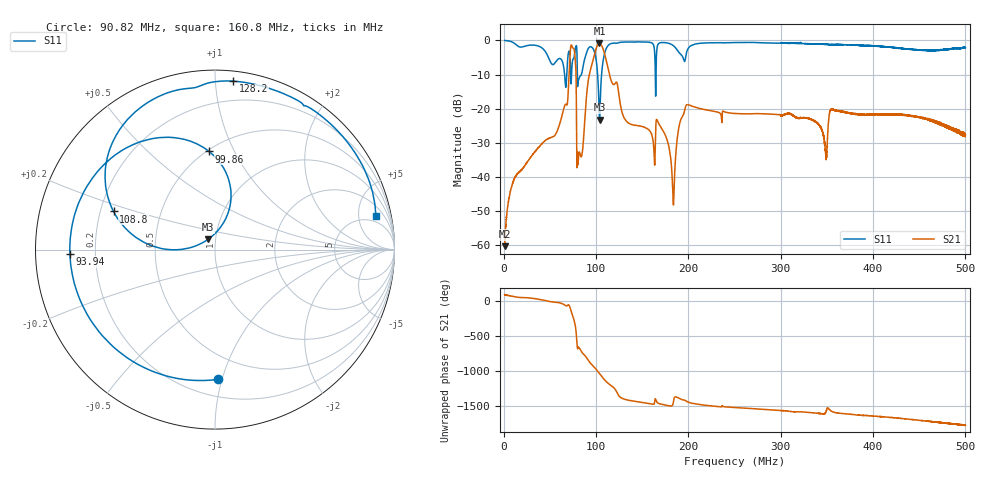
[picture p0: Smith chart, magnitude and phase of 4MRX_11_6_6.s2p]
! NanoVNA-App
! Date: 2026-08-19 14:54:53
! Start: 1MHz Stop: 500MHz Points: 6401
! S-Parameter data: F S11 S21 S12 S22
# Hz S RI R 50
!  Frequency  S11_Real  S11_Imag  S21_Real  S21_Imag  S12_Real  S12_Imag  S22_Real  S22_Imag
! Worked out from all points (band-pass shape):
!   6401 points, 1 MHz to 500 MHz, reference 50 ohm
!   highest |S21| = -0.89 dB at 103.7 MHz (marker M1); lowest = -60.2 dB at 1.078 MHz (marker M2)
!   |S21| within 3 dB of the highest: 71.95 MHz to 76.96 MHz (5.012 MHz wide, 6.73 % of centre); 98.5 MHz to 109.3 MHz (10.75 MHz wide, 10.4 % of centre)
!   lowest |S11| = -23.2 dB at 103.8 MHz (marker M3), VSWR 1.15, Z = 46.1 + j5.35 ohm
!   |S11| at or under -10 dB: 65.96 MHz to 68.25 MHz (2.289 MHz wide, 3.41 % of centre); 79.75 MHz to 84.12 MHz (4.373 MHz wide, 5.34 % of centre); 101.7 MHz to 106 MHz (4.283 MHz wide, 4.12 % of centre) (the widest 3 of 5)
!   S12 and S22 are empty: the file has one direction only
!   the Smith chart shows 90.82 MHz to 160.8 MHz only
!   S11 on the Smith chart (normalised r, x): 90.82 MHz: 0.32, -0.97; 93.94 MHz: 0.11, -0.01; 99.86 MHz: 0.51, +0.80; 108.8 MHz: 0.25, +0.17; 128.2 MHz: 0.06, +1.11; 160.8 MHz: 3.44, +8.10
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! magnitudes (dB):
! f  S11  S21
! 1 MHz  0.0  -60.0
! 1.078 MHz  0.0  -60.2
! 12.07 MHz  -1.0  -40.3
! 59.16 MHz  -5.4  -25.7
! 74.21 MHz  -6.7  -1.9
! 81.23 MHz  -11.5  -33.3
! 84.19 MHz  -10.0  -34.0
! 90.82 MHz  -2.8  -13.3
! 93.94 MHz  -1.8  -8.7
! 99.86 MHz  -5.2  -2.6
! 103.7 MHz  -23.0  -0.9
! 103.8 MHz  -23.2  -0.9
! 108.8 MHz  -4.4  -3.4
! 128.2 MHz  -0.5  -21.1
! 160.8 MHz  -0.8  -28.0
! 167.4 MHz  -1.0  -24.0
! 183.5 MHz  -1.5  -47.1
! 198.6 MHz  -3.1  -18.8
! 250.5 MHz  -0.6  -21.4
! 333.7 MHz  -1.0  -23.2
! 416.9 MHz  -1.9  -21.6
! 500 MHz  -2.1  -27.7
